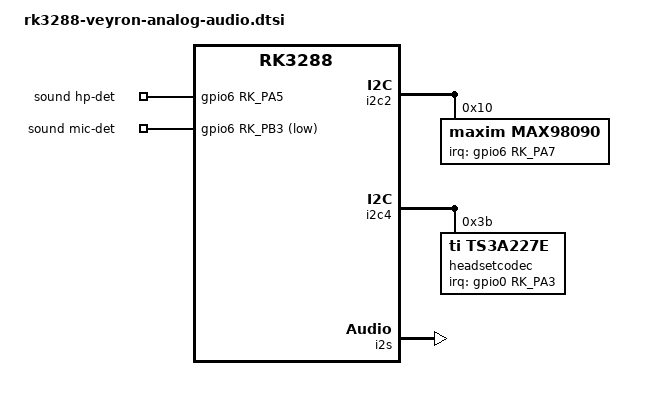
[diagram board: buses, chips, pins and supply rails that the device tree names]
// SPDX-License-Identifier: GPL-2.0
/*
 * Google Veyron (and derivatives) fragment for the  max98090 audio
 * codec and analog headphone jack.
 *
 * Copyright 2016 Google, Inc
 */

/ {
	sound {
		compatible = "rockchip,rockchip-audio-max98090";
		pinctrl-names = "default";
		pinctrl-0 = <&mic_det>, <&hp_det>;
		rockchip,model = "VEYRON-I2S";
		rockchip,i2s-controller = <&i2s>;
		rockchip,audio-codec = <&max98090>;
		rockchip,hp-det-gpios = <&gpio6 RK_PA5 GPIO_ACTIVE_HIGH>;
		rockchip,mic-det-gpios = <&gpio6 RK_PB3 GPIO_ACTIVE_LOW>;
		rockchip,headset-codec = <&headsetcodec>;
		rockchip,hdmi-codec = <&hdmi>;
	};
};

&i2c2 {
	max98090: max98090@10 {
		compatible = "maxim,max98090";
		reg = <0x10>;
		interrupt-parent = <&gpio6>;
		interrupts = <RK_PA7 IRQ_TYPE_EDGE_FALLING>;
		clock-names = "mclk";
		clocks = <&cru SCLK_I2S0_OUT>;
		pinctrl-names = "default";
		pinctrl-0 = <&int_codec>;
	};
};

&i2c4 {
	headsetcodec: ts3a227e@3b {
		compatible = "ti,ts3a227e";
		reg = <0x3b>;
		interrupt-parent = <&gpio0>;
		interrupts = <RK_PA3 IRQ_TYPE_LEVEL_LOW>;
		pinctrl-names = "default";
		pinctrl-0 = <&ts3a227e_int_l>;
		ti,micbias = <7>;		/* MICBIAS = 2.8V */
	};
};

&i2s {
	status = "okay";
};

&io_domains {
	audio-supply = <&vcc18_codec>;
};

&rk808 {
	vcc10-supply = <&vcc33_sys>;

	regulators {
		vcc18_codec: LDO_REG6 {
			regulator-name = "vcc18_codec";
			regulator-always-on;
			regulator-boot-on;
			regulator-min-microvolt = <1800000>;
			regulator-max-microvolt = <1800000>;
			regulator-state-mem {
				regulator-off-in-suspend;
			};
		};
	};
};

&pinctrl {
	codec {
		hp_det: hp-det {
			rockchip,pins = <6 RK_PA5 RK_FUNC_GPIO &pcfg_pull_up>;
		};

		/*
		 * HACK: We're going to _pull down_ this _active low_ interrupt
		 * so that it never fires.  We don't need this interrupt because
		 * we've got a ts3a227e chip but the driver requires it.
		 */
		int_codec: int-codec {
			rockchip,pins = <6 RK_PA7 RK_FUNC_GPIO &pcfg_pull_down>;
		};

		mic_det: mic-det {
			rockchip,pins = <6 RK_PB3 RK_FUNC_GPIO &pcfg_pull_up>;
		};
	};

	headset {
		ts3a227e_int_l: ts3a227e-int-l {
			rockchip,pins = <0 RK_PA3 RK_FUNC_GPIO &pcfg_pull_up>;
		};
	};
};
